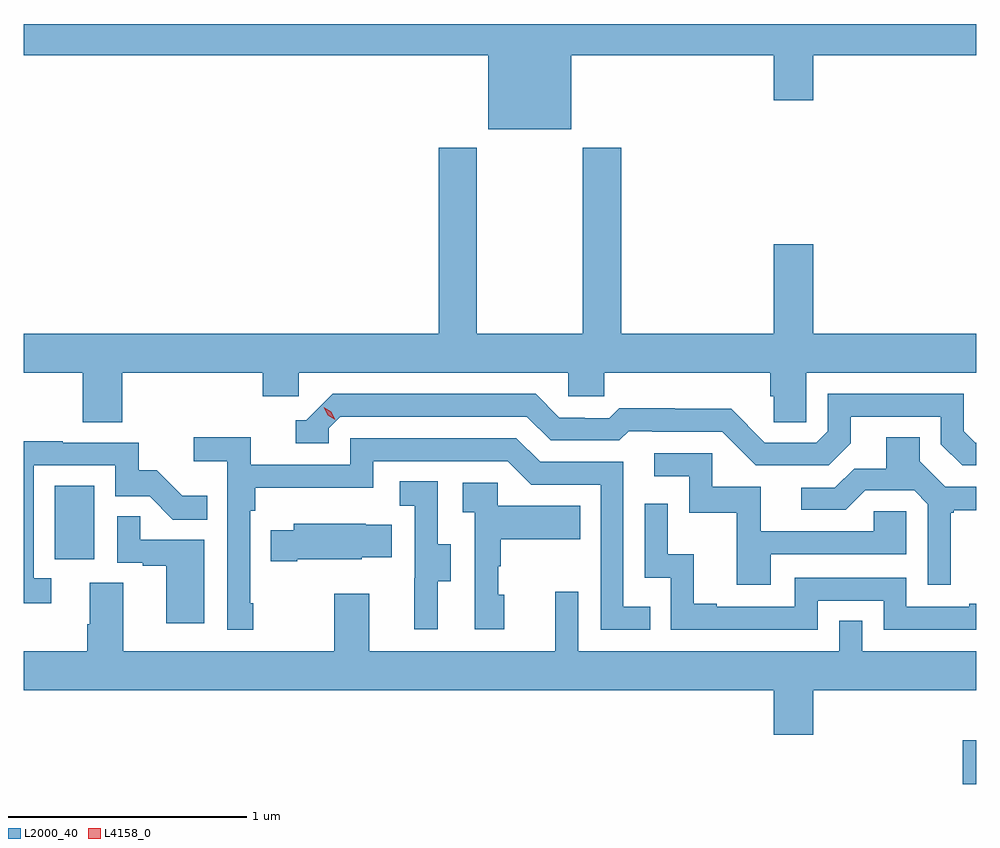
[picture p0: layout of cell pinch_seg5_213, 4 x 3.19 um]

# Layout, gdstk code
import gdstk
lib = gdstk.Library(unit=1e-6, precision=1e-09)
def R(c, l, rs):  # rectangles x0, y0, x1, y1
    for r in rs: c.add(gdstk.rectangle(r[:2], r[2:], *l))
def P(c, l, *ps):  # polygons
    for p in ps: c.add(gdstk.Polygon(p, *l))
L2000_40 = (2000, 40)
L4158_0 = (4158, 0)

pinch_seg5_213 = lib.new_cell('pinch_seg5_213')
R(pinch_seg5_213, L2000_40, [(957.008,912.31,957.066,912.493), (953.198,913.254,953.362,913.561)])
P(pinch_seg5_213, L2000_40, [(955.366,915.368),(956.216,915.368),(956.216,915.18),(956.38,915.18),(956.38,915.368),(957.066,915.368),(957.066,915.5),(953.066,915.5),(953.066,915.368),(955.016,915.368),(955.016,915.059),(955.366,915.059)],
  [(953.066,914.036),(953.315,914.036),(953.315,913.828),(953.48,913.828),(953.48,914.036),(954.071,914.036),(954.071,913.938),(954.222,913.938),(954.222,914.036),(955.353,914.036),(955.353,913.938),(955.503,913.938),(955.503,914.036),(956.201,914.036),(956.201,913.938),(956.215,913.938),(956.215,913.828),(956.352,913.828),(956.352,914.036),(957.066,914.036),(957.066,914.2),(956.38,914.2),(956.38,914.575),(956.216,914.575),(956.216,914.2),(955.574,914.2),(955.574,914.98),(955.414,914.98),(955.414,914.2),(954.969,914.2),(954.969,914.98),(954.809,914.98),(954.809,914.2),(953.066,914.2)],
  [(956.539,913.741),(956.539,913.851),(956.916,913.851),(956.916,913.737),(957.006,913.647),(957.066,913.647),(957.066,913.743),(957.06,913.743),(957.012,913.791),(957.012,913.947),(956.442,913.947),(956.442,913.791),(956.394,913.743),(956.178,913.743),(956.036,913.885),(955.8,913.885),(955.8,913.888),(955.567,913.888),(955.525,913.845),(955.422,913.845),(955.422,913.848),(955.315,913.848),(955.216,913.947),(954.363,913.947),(954.252,913.836),(954.209,913.836),(954.209,913.74),(954.348,913.74),(954.348,913.803),(954.396,913.851),(955.179,913.851),(955.278,913.752),(955.567,913.752),(955.606,913.791),(955.705,913.791),(955.705,913.788),(955.998,913.788),(956.139,913.647),(956.445,913.647)],
  [(954.031,913.069),(954.018,913.069),(954.018,913.457),(954.038,913.457),(954.038,913.553),(954.534,913.553),(954.534,913.665),(955.098,913.665),(955.197,913.566),(955.488,913.566),(955.488,912.957),(955.697,912.957),(955.697,913.053),(955.584,913.053),(955.584,913.662),(955.234,913.662),(955.135,913.761),(954.438,913.761),(954.438,913.65),(954.02,913.65),(954.02,913.766),(953.781,913.766),(953.781,913.664),(953.922,913.664),(953.922,912.957),(954.031,912.957)],
  [(956.959,913.449),(956.971,913.449),(956.971,913.46),(957.066,913.46),(957.066,913.557),(956.934,913.557),(956.827,913.664),(956.827,913.766),(956.687,913.766),(956.687,913.634),(956.552,913.634),(956.472,913.554),(956.331,913.554),(956.331,913.461),(956.518,913.461),(956.599,913.542),(956.805,913.542),(956.862,913.485),(956.862,913.146),(956.959,913.146)],
  [(953.182,913.173),(953.109,913.173),(953.109,913.647),(953.451,913.647),(953.451,913.518),(953.595,913.518),(953.693,913.42),(953.837,913.42),(953.837,913.519),(953.733,913.519),(953.626,913.626),(953.55,913.626),(953.55,913.743),(953.231,913.743),(953.231,913.748),(953.066,913.748),(953.066,913.068),(953.182,913.068)],
  [(956.203,913.275),(956.772,913.275),(956.772,913.455),(956.635,913.455),(956.635,913.371),(956.161,913.371),(956.161,913.557),(955.956,913.557),(955.956,913.698),(955.713,913.698),(955.713,913.602),(955.86,913.602),(955.86,913.449),(956.059,913.449),(956.059,913.146),(956.203,913.146)],
  [(954.805,913.162),(954.859,913.162),(954.859,913.317),(954.804,913.317),(954.804,913.58),(954.645,913.58),(954.645,913.477),(954.708,913.477),(954.708,913.173),(954.707,913.173),(954.707,912.96),(954.805,912.96)],
  [(955.084,913.104),(955.059,913.104),(955.059,913.223),(955.069,913.223),(955.069,913.337),(955.403,913.337),(955.403,913.477),(955.056,913.477),(955.056,913.575),(954.909,913.575),(954.909,913.451),(954.96,913.451),(954.96,912.96),(955.084,912.96)],
  [(956.4,913.08),(956.676,913.08),(956.676,912.957),(957.066,912.957),(957.066,913.066),(957.035,913.066),(957.035,913.053),(956.772,913.053),(956.772,913.176),(956.304,913.176),(956.304,913.053),(955.975,913.053),(955.975,913.066),(955.88,913.066),(955.88,913.274),(955.77,913.274),(955.77,913.486),(955.674,913.486),(955.674,913.176),(955.782,913.176),(955.782,912.957),(956.4,912.957)],
  [(953.824,913.335),(953.555,913.335),(953.555,913.433),(953.46,913.433),(953.46,913.239),(953.567,913.239),(953.567,913.227),(953.666,913.227),(953.666,912.984),(953.824,912.984)],
  [(954.214,913.253),(954.486,913.253),(954.486,913.262),(954.611,913.262),(954.611,913.399),(954.503,913.399),(954.503,913.402),(954.201,913.402),(954.201,913.375),(954.103,913.375),(954.103,913.246),(954.214,913.246)],
  [(956.38,912.704),(957.066,912.704),(957.066,912.868),(956.586,912.868),(956.586,912.995),(956.49,912.995),(956.49,912.868),(955.395,912.868),(955.395,913.117),(955.298,913.117),(955.298,912.868),(954.517,912.868),(954.517,913.108),(954.37,913.108),(954.37,912.868),(953.485,912.868),(953.485,913.154),(953.345,913.154),(953.345,912.98),(953.333,912.98),(953.333,912.868),(953.066,912.868),(953.066,912.704),(956.216,912.704),(956.216,912.516),(956.38,912.516)])
P(pinch_seg5_213, L4158_0, [(954.374,913.839),(954.343,913.858),(954.327,913.891),(954.327,913.891),(954.327,913.891),(954.358,913.872),(954.374,913.839),(954.374,913.839)])

lib.write_gds('pinch_seg5_213.gds')
